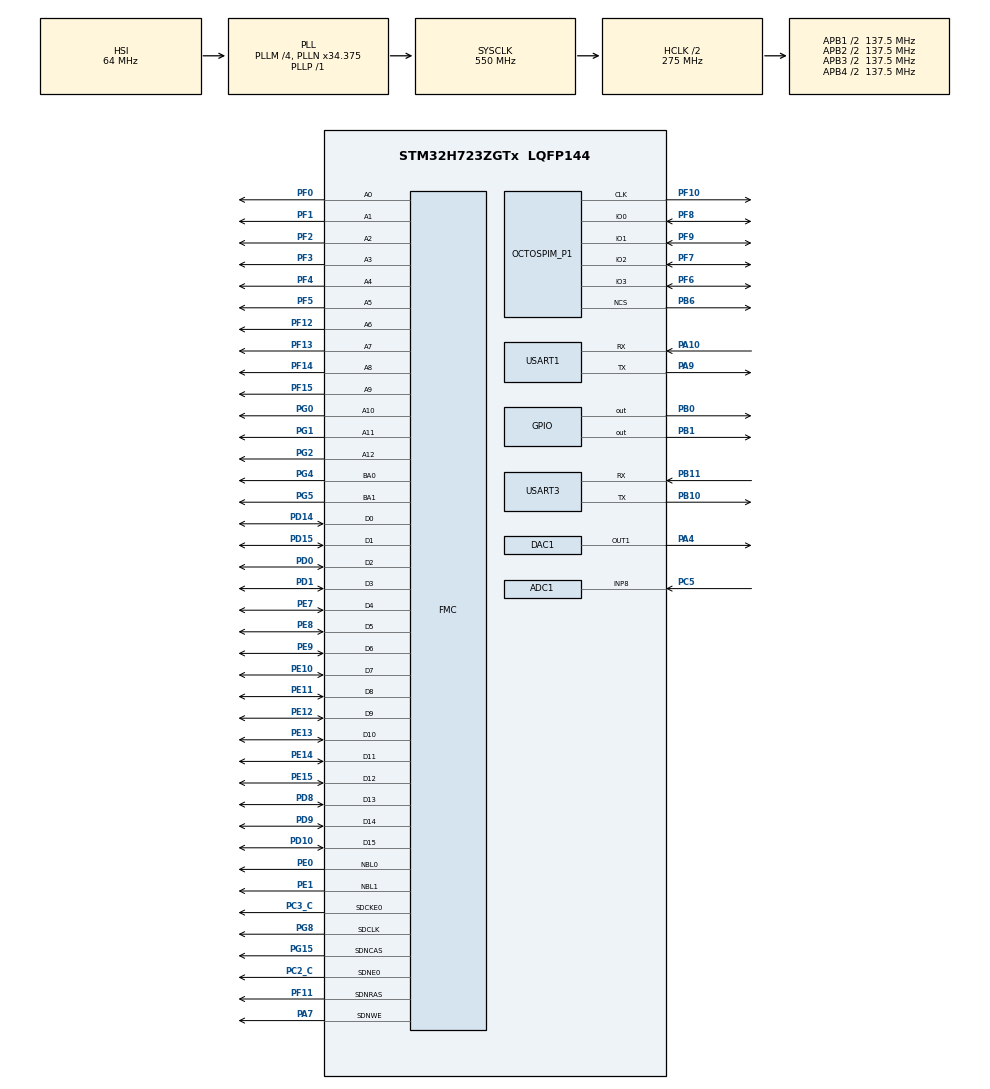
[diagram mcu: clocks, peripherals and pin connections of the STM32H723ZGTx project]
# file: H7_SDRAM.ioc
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ADC1.Channel-3\#ChannelRegularConversion=ADC_CHANNEL_8
ADC1.ClockPrescaler=ADC_CLOCK_ASYNC_DIV4
ADC1.ConversionDataManagement=ADC_CONVERSIONDATA_DMA_CIRCULAR
ADC1.ExternalTrigConv=ADC_EXTERNALTRIG_T4_TRGO
ADC1.NbrOfConversionFlag=1
ADC1.OffsetNumber-3\#ChannelRegularConversion=ADC_OFFSET_NONE
ADC1.OffsetSignedSaturation-3\#ChannelRegularConversion=DISABLE
ADC1.Rank-3\#ChannelRegularConversion=1
ADC1.Resolution=ADC_RESOLUTION_12B
ADC1.SamplingTime-3\#ChannelRegularConversion=ADC_SAMPLETIME_8CYCLES_5
ADC1.master=1
CORTEX_M7.AccessPermission_S-Cortex_Memory_Protection_Unit_Region1_Settings_S=MPU_REGION_FULL_ACCESS
CORTEX_M7.AccessPermission_S-Cortex_Memory_Protection_Unit_Region2_Settings_S=MPU_REGION_FULL_ACCESS
CORTEX_M7.AccessPermission_S-Cortex_Memory_Protection_Unit_Region3_Settings_S=MPU_REGION_FULL_ACCESS
CORTEX_M7.AccessPermission_S-Cortex_Memory_Protection_Unit_Region5_Settings_S=MPU_REGION_FULL_ACCESS
CORTEX_M7.AccessPermission_Spec=MPU_REGION_FULL_ACCESS
CORTEX_M7.BaseAddress_S-Cortex_Memory_Protection_Unit_Region1_Settings_S=0x60000000
CORTEX_M7.BaseAddress_S-Cortex_Memory_Protection_Unit_Region2_Settings_S=0x30000000
CORTEX_M7.BaseAddress_S-Cortex_Memory_Protection_Unit_Region3_Settings_S=0x38000000
CORTEX_M7.BaseAddress_S-Cortex_Memory_Protection_Unit_Region5_Settings_S=0xC0000000
CORTEX_M7.BaseAddress_Spec=0x24000000
CORTEX_M7.CPU_DCache=Enabled
CORTEX_M7.CPU_ICache=Enabled
CORTEX_M7.DisableExec_S-Cortex_Memory_Protection_Unit_Region1_Settings_S=MPU_INSTRUCTION_ACCESS_ENABLE
CORTEX_M7.DisableExec_S-Cortex_Memory_Protection_Unit_Region2_Settings_S=MPU_INSTRUCTION_ACCESS_ENABLE
CORTEX_M7.DisableExec_S-Cortex_Memory_Protection_Unit_Region3_Settings_S=MPU_INSTRUCTION_ACCESS_ENABLE
CORTEX_M7.DisableExec_Spec=MPU_INSTRUCTION_ACCESS_ENABLE
CORTEX_M7.Enable_S-Cortex_Memory_Protection_Unit_Region1_Settings_S=MPU_REGION_ENABLE
CORTEX_M7.Enable_S-Cortex_Memory_Protection_Unit_Region2_Settings_S=MPU_REGION_ENABLE
CORTEX_M7.Enable_S-Cortex_Memory_Protection_Unit_Region3_Settings_S=MPU_REGION_ENABLE
CORTEX_M7.Enable_S-Cortex_Memory_Protection_Unit_Region4_Settings_S=__NULL
CORTEX_M7.Enable_S-Cortex_Memory_Protection_Unit_Region5_Settings_S=MPU_REGION_ENABLE
CORTEX_M7.IsBufferable_S-Cortex_Memory_Protection_Unit_Region1_Settings_S=MPU_ACCESS_BUFFERABLE
CORTEX_M7.IsBufferable_S-Cortex_Memory_Protection_Unit_Region2_Settings_S=MPU_ACCESS_BUFFERABLE
CORTEX_M7.IsBufferable_Spec=MPU_ACCESS_BUFFERABLE
CORTEX_M7.IsCacheable_S-Cortex_Memory_Protection_Unit_Region1_Settings_S=MPU_ACCESS_NOT_CACHEABLE
CORTEX_M7.IsCacheable_S-Cortex_Memory_Protection_Unit_Region2_Settings_S=MPU_ACCESS_CACHEABLE
CORTEX_M7.IsCacheable_S-Cortex_Memory_Protection_Unit_Region3_Settings_S=MPU_ACCESS_CACHEABLE
CORTEX_M7.IsCacheable_S-Cortex_Memory_Protection_Unit_Region5_Settings_S=MPU_ACCESS_CACHEABLE
CORTEX_M7.IsCacheable_Spec=MPU_ACCESS_CACHEABLE
CORTEX_M7.IsShareable_Spec=MPU_ACCESS_NOT_SHAREABLE
CORTEX_M7.Size_S-Cortex_Memory_Protection_Unit_Region1_Settings_S=MPU_REGION_SIZE_64KB
CORTEX_M7.Size_S-Cortex_Memory_Protection_Unit_Region2_Settings_S=MPU_REGION_SIZE_64KB
CORTEX_M7.Size_S-Cortex_Memory_Protection_Unit_Region3_Settings_S=MPU_REGION_SIZE_64KB
CORTEX_M7.Size_S-Cortex_Memory_Protection_Unit_Region5_Settings_S=MPU_REGION_SIZE_32MB
CORTEX_M7.Size_Spec=MPU_REGION_SIZE_512KB
CORTEX_M7.SubRegionDisable_S-Cortex_Memory_Protection_Unit_Region1_Settings_S=0x00
CORTEX_M7.SubRegionDisable_Spec=0xE0
CORTEX_M7.TypeExtField_S-Cortex_Memory_Protection_Unit_Region1_Settings_S=MPU_TEX_LEVEL1
CORTEX_M7.TypeExtField_S-Cortex_Memory_Protection_Unit_Region5_Settings_S=MPU_TEX_LEVEL1
CORTEX_M7.TypeExtField_Spec=MPU_TEX_LEVEL1
CORTEX_M7.default_mode_Activation=1
DAC1.DAC_Channel-DAC_OUT1=DAC_CHANNEL_1
DAC1.DAC_Trigger-DAC_OUT1=DAC_TRIGGER_T4_TRGO
Dma.ADC1.3.Direction=DMA_PERIPH_TO_MEMORY
Dma.ADC1.3.EventEnable=DISABLE
Dma.ADC1.3.FIFOMode=DMA_FIFOMODE_DISABLE
Dma.ADC1.3.Instance=DMA1_Stream0
Dma.ADC1.3.MemDataAlignment=DMA_MDATAALIGN_HALFWORD
Dma.ADC1.3.MemInc=DMA_MINC_ENABLE
Dma.ADC1.3.Mode=DMA_CIRCULAR
Dma.ADC1.3.PeriphDataAlignment=DMA_PDATAALIGN_HALFWORD
Dma.ADC1.3.PeriphInc=DMA_PINC_DISABLE
Dma.ADC1.3.Polarity=HAL_DMAMUX_REQ_GEN_RISING
Dma.ADC1.3.Priority=DMA_PRIORITY_HIGH
Dma.ADC1.3.RequestNumber=1
Dma.ADC1.3.SignalID=NONE
Dma.ADC1.3.SyncEnable=DISABLE
Dma.ADC1.3.SyncPolarity=HAL_DMAMUX_SYNC_NO_EVENT
Dma.ADC1.3.SyncRequestNumber=1
Dma.ADC1.3.SyncSignalID=NONE
Dma.DAC1_CH1.2.Direction=DMA_MEMORY_TO_PERIPH
Dma.DAC1_CH1.2.EventEnable=DISABLE
Dma.DAC1_CH1.2.FIFOMode=DMA_FIFOMODE_DISABLE
Dma.DAC1_CH1.2.Instance=DMA1_Stream3
Dma.DAC1_CH1.2.MemDataAlignment=DMA_MDATAALIGN_HALFWORD
Dma.DAC1_CH1.2.MemInc=DMA_MINC_ENABLE
Dma.DAC1_CH1.2.Mode=DMA_CIRCULAR
Dma.DAC1_CH1.2.PeriphDataAlignment=DMA_PDATAALIGN_HALFWORD
Dma.DAC1_CH1.2.PeriphInc=DMA_PINC_DISABLE
Dma.DAC1_CH1.2.Polarity=HAL_DMAMUX_REQ_GEN_RISING
Dma.DAC1_CH1.2.Priority=DMA_PRIORITY_HIGH
Dma.DAC1_CH1.2.RequestNumber=1
Dma.DAC1_CH1.2.SignalID=NONE
Dma.DAC1_CH1.2.SyncEnable=DISABLE
Dma.DAC1_CH1.2.SyncPolarity=HAL_DMAMUX_SYNC_NO_EVENT
Dma.DAC1_CH1.2.SyncRequestNumber=1
Dma.DAC1_CH1.2.SyncSignalID=NONE
Dma.Request0=USART1_RX
Dma.Request1=USART3_RX
Dma.Request2=DAC1_CH1
Dma.Request3=ADC1
Dma.USART1_RX.0.Direction=DMA_PERIPH_TO_MEMORY
Dma.USART1_RX.0.EventEnable=DISABLE
Dma.USART1_RX.0.FIFOMode=DMA_FIFOMODE_DISABLE
Dma.USART1_RX.0.Instance=DMA1_Stream1
Dma.USART1_RX.0.MemDataAlignment=DMA_MDATAALIGN_BYTE
Dma.USART1_RX.0.MemInc=DMA_MINC_ENABLE
Dma.USART1_RX.0.Mode=DMA_NORMAL
Dma.USART1_RX.0.PeriphDataAlignment=DMA_PDATAALIGN_BYTE
Dma.USART1_RX.0.PeriphInc=DMA_PINC_DISABLE
Dma.USART1_RX.0.Polarity=HAL_DMAMUX_REQ_GEN_RISING
Dma.USART1_RX.0.Priority=DMA_PRIORITY_HIGH
Dma.USART1_RX.0.RequestNumber=1
Dma.USART1_RX.0.SignalID=NONE
Dma.USART1_RX.0.SyncEnable=DISABLE
Dma.USART1_RX.0.SyncPolarity=HAL_DMAMUX_SYNC_NO_EVENT
Dma.USART1_RX.0.SyncRequestNumber=1
Dma.USART1_RX.0.SyncSignalID=NONE
Dma.USART3_RX.1.Direction=DMA_PERIPH_TO_MEMORY
Dma.USART3_RX.1.EventEnable=DISABLE
Dma.USART3_RX.1.FIFOMode=DMA_FIFOMODE_DISABLE
Dma.USART3_RX.1.Instance=DMA1_Stream2
Dma.USART3_RX.1.MemDataAlignment=DMA_MDATAALIGN_BYTE
Dma.USART3_RX.1.MemInc=DMA_MINC_ENABLE
Dma.USART3_RX.1.Mode=DMA_NORMAL
Dma.USART3_RX.1.PeriphDataAlignment=DMA_PDATAALIGN_BYTE
Dma.USART3_RX.1.PeriphInc=DMA_PINC_DISABLE
Dma.USART3_RX.1.Polarity=HAL_DMAMUX_REQ_GEN_RISING
Dma.USART3_RX.1.Priority=DMA_PRIORITY_MEDIUM
Dma.USART3_RX.1.RequestNumber=1
Dma.USART3_RX.1.SignalID=NONE
Dma.USART3_RX.1.SyncEnable=DISABLE
Dma.USART3_RX.1.SyncPolarity=HAL_DMAMUX_SYNC_NO_EVENT
Dma.USART3_RX.1.SyncRequestNumber=1
Dma.USART3_RX.1.SyncSignalID=NONE
FMC.CASLatency1=FMC_SDRAM_CAS_LATENCY_3
FMC.ColumnBitsNumber1=FMC_SDRAM_COLUMN_BITS_NUM_9
FMC.ExitSelfRefreshDelay1=10
FMC.LoadToActiveDelay1=2
FMC.RCDDelay1=2
FMC.RPDelay1=3
FMC.RPDelay2=3
FMC.ReadBurst1=FMC_SDRAM_RBURST_ENABLE
FMC.ReadPipeDelay1=FMC_SDRAM_RPIPE_DELAY_1
FMC.ReadPipeDelay2=FMC_SDRAM_RPIPE_DELAY_1
FMC.RowCycleDelay1=9
FMC.RowCycleDelay2=9
FMC.SDClockPeriod1=FMC_SDRAM_CLOCK_PERIOD_2
FMC.SelfRefreshTime1=6
FMC.WriteRecoveryTime1=4
Mcu.Family=STM32H7
Mcu.Name=STM32H723ZGTx
Mcu.Package=LQFP144
NVIC.ADC_IRQn=true\:0\:0\:false\:false\:true\:true\:true\:true
NVIC.DMA1_Stream0_IRQn=true\:0\:0\:false\:false\:true\:false\:true\:true
NVIC.DMA1_Stream1_IRQn=true\:1\:0\:true\:false\:true\:false\:true\:true
NVIC.DMA1_Stream2_IRQn=true\:0\:0\:false\:false\:true\:false\:true\:true
NVIC.DMA1_Stream3_IRQn=true\:0\:0\:false\:false\:true\:false\:true\:true
NVIC.PriorityGroup=NVIC_PRIORITYGROUP_4
NVIC.TIM6_DAC_IRQn=true\:0\:0\:false\:false\:true\:true\:true\:true
NVIC.USART1_IRQn=true\:0\:0\:false\:false\:true\:true\:true\:true
NVIC.USART3_IRQn=true\:0\:0\:false\:false\:true\:true\:true\:true
OCTOSPI1.ChipSelectHighTime=4
OCTOSPI1.ClockPrescaler=3
OCTOSPI1.DeviceSize=23
OCTOSPI1.FifoThreshold=4
OCTOSPI1.SampleShifting=HAL_OSPI_SAMPLE_SHIFTING_HALFCYCLE
PA10.Mode=Asynchronous
PA10.Signal=USART1_RX
PA4.Signal=COMP_DAC11_group
PA7.Signal=FMC_SDNWE
PA9.Mode=Asynchronous
PA9.Signal=USART1_TX
PB0.GPIO_Speed=GPIO_SPEED_FREQ_VERY_HIGH
PB0.PinState=GPIO_PIN_SET
PB0.Signal=GPIO_Output
PB1.GPIO_Speed=GPIO_SPEED_FREQ_VERY_HIGH
PB1.PinState=GPIO_PIN_SET
PB1.Signal=GPIO_Output
PB10.Mode=Asynchronous
PB10.Signal=USART3_TX
PB11.Mode=Asynchronous
PB11.Signal=USART3_RX
PB6.Mode=OCTOSPI1_Port1_NCS
PB6.Signal=OCTOSPIM_P1_NCS
PC14-OSC32_IN.Mode=LSE-External-Oscillator
PC14-OSC32_IN.Signal=RCC_OSC32_IN
PC15-OSC32_OUT.Mode=LSE-External-Oscillator
PC15-OSC32_OUT.Signal=RCC_OSC32_OUT
PC2_C.Mode=SdramChipSelect1_1
PC2_C.Signal=FMC_SDNE0
PC3_C.Mode=SdramChipSelect1_1
PC3_C.Signal=FMC_SDCKE0
PC5.Signal=ADCx_INP8
PD0.Signal=FMC_D2_DA2
PD1.Signal=FMC_D3_DA3
PD10.Signal=FMC_D15_DA15
PD14.Signal=FMC_D0_DA0
PD15.Signal=FMC_D1_DA1
PD8.Signal=FMC_D13_DA13
PD9.Signal=FMC_D14_DA14
PE0.Signal=FMC_NBL0
PE1.Signal=FMC_NBL1
PE10.Signal=FMC_D7_DA7
PE11.Signal=FMC_D8_DA8
PE12.Signal=FMC_D9_DA9
PE13.Signal=FMC_D10_DA10
PE14.Signal=FMC_D11_DA11
PE15.Signal=FMC_D12_DA12
PE7.Signal=FMC_D4_DA4
PE8.Signal=FMC_D5_DA5
PE9.Signal=FMC_D6_DA6
PF0.Signal=FMC_A0
PF1.Signal=FMC_A1
PF10.Mode=O1_P1_CLK
PF10.Signal=OCTOSPIM_P1_CLK
PF11.Signal=FMC_SDNRAS
PF12.Signal=FMC_A6
PF13.Signal=FMC_A7
PF14.Signal=FMC_A8
PF15.Signal=FMC_A9
PF2.Signal=FMC_A2
PF3.Signal=FMC_A3
PF4.Signal=FMC_A4
PF5.Signal=FMC_A5
PF6.Mode=OCTOSPI1_IOL_Port1L
PF6.Signal=OCTOSPIM_P1_IO3
PF7.Mode=OCTOSPI1_IOL_Port1L
PF7.Signal=OCTOSPIM_P1_IO2
PF8.Mode=OCTOSPI1_IOL_Port1L
PF8.Signal=OCTOSPIM_P1_IO0
PF9.Mode=OCTOSPI1_IOL_Port1L
PF9.Signal=OCTOSPIM_P1_IO1
PG0.Signal=FMC_A10
PG1.Signal=FMC_A11
PG15.Signal=FMC_SDNCAS
PG2.Signal=FMC_A12
PG4.Signal=FMC_A14_BA0
PG5.Signal=FMC_A15_BA1
PG8.Signal=FMC_SDCLK
PH0-OSC_IN.Mode=HSE-External-Oscillator
PH0-OSC_IN.Signal=RCC_OSC_IN
PH1-OSC_OUT.Mode=HSE-External-Oscillator
PH1-OSC_OUT.Signal=RCC_OSC_OUT
ProjectManager.HeapSize=0x4000
ProjectManager.StackSize=0x4000
ProjectManager.TargetToolchain=MDK-ARM V5.32
RCC.ADCCLockSelection=RCC_ADCCLKSOURCE_CLKP
RCC.ADCFreq_Value=64000000
RCC.APB1Freq_Value=137500000
RCC.APB2Freq_Value=137500000
RCC.APB3Freq_Value=137500000
RCC.APB4Freq_Value=137500000
RCC.CortexFreq_Value=550000000
RCC.D1PPRE=RCC_APB3_DIV2
RCC.D2PPRE1=RCC_APB1_DIV2
RCC.D2PPRE2=RCC_APB2_DIV2
RCC.D3PPRE=RCC_APB4_DIV2
RCC.DIVM1=4
RCC.DIVN1=34
RCC.DIVP1=1
RCC.HCLKFreq_Value=275000000
RCC.HPRE=RCC_HCLK_DIV2
RCC.PLL2FRACN=0
RCC.PLL3FRACN=0
RCC.PLLFRACN=3072
RCC.SYSCLKFreq_VALUE=550000000
RCC.SYSCLKSource=RCC_SYSCLKSOURCE_PLLCLK
RCC.USBFreq_Value=275000000
SH.ADCx_INP8.0=ADC1_INP8,IN8-Single-Ended
SH.COMP_DAC11_group.0=DAC1_OUT1,DAC_OUT1
SH.FMC_A0.0=FMC_A0,13b-sda1
SH.FMC_A1.0=FMC_A1,13b-sda1
SH.FMC_A10.0=FMC_A10,13b-sda1
SH.FMC_A11.0=FMC_A11,13b-sda1
SH.FMC_A12.0=FMC_A12,13b-sda1
SH.FMC_A14_BA0.0=FMC_BA0,FourSdramBanks1
SH.FMC_A15_BA1.0=FMC_BA1,FourSdramBanks1
SH.FMC_A2.0=FMC_A2,13b-sda1
SH.FMC_A3.0=FMC_A3,13b-sda1
SH.FMC_A4.0=FMC_A4,13b-sda1
SH.FMC_A5.0=FMC_A5,13b-sda1
SH.FMC_A6.0=FMC_A6,13b-sda1
SH.FMC_A7.0=FMC_A7,13b-sda1
SH.FMC_A8.0=FMC_A8,13b-sda1
SH.FMC_A9.0=FMC_A9,13b-sda1
SH.FMC_D0_DA0.0=FMC_D0,sd-16b-d1
SH.FMC_D10_DA10.0=FMC_D10,sd-16b-d1
SH.FMC_D11_DA11.0=FMC_D11,sd-16b-d1
SH.FMC_D12_DA12.0=FMC_D12,sd-16b-d1
SH.FMC_D13_DA13.0=FMC_D13,sd-16b-d1
SH.FMC_D14_DA14.0=FMC_D14,sd-16b-d1
SH.FMC_D15_DA15.0=FMC_D15,sd-16b-d1
SH.FMC_D1_DA1.0=FMC_D1,sd-16b-d1
SH.FMC_D2_DA2.0=FMC_D2,sd-16b-d1
SH.FMC_D3_DA3.0=FMC_D3,sd-16b-d1
SH.FMC_D4_DA4.0=FMC_D4,sd-16b-d1
SH.FMC_D5_DA5.0=FMC_D5,sd-16b-d1
SH.FMC_D6_DA6.0=FMC_D6,sd-16b-d1
SH.FMC_D7_DA7.0=FMC_D7,sd-16b-d1
SH.FMC_D8_DA8.0=FMC_D8,sd-16b-d1
SH.FMC_D9_DA9.0=FMC_D9,sd-16b-d1
SH.FMC_NBL0.0=FMC_NBL0,Sd2ByteEnable1
SH.FMC_NBL1.0=FMC_NBL1,Sd2ByteEnable1
SH.FMC_SDCLK.0=FMC_SDCLK,13b-sda1
SH.FMC_SDNCAS.0=FMC_SDNCAS,13b-sda1
SH.FMC_SDNRAS.0=FMC_SDNRAS,13b-sda1
SH.FMC_SDNWE.0=FMC_SDNWE,13b-sda1
TIM3.AutoReloadPreload=TIM_AUTORELOAD_PRELOAD_ENABLE
TIM3.Period=110-1
TIM3.Prescaler=25-1
TIM3.TIM_MasterOutputTrigger=TIM_TRGO_UPDATE
TIM4.AutoReloadPreload=TIM_AUTORELOAD_PRELOAD_ENABLE
TIM4.Period=2-1
TIM4.Prescaler=13-1
TIM4.TIM_MasterOutputTrigger=TIM_TRGO_UPDATE
USART1.VirtualMode-Asynchronous=VM_ASYNC
USART3.VirtualMode-Asynchronous=VM_ASYNC
VP_MEMORYMAP_VS_MEMORYMAP.Mode=CurAppReg
VP_OCTOSPI1_VS_quad.Mode=quad_mode
VP_TIM3_VS_ClockSourceINT.Mode=Internal
VP_TIM4_VS_ClockSourceINT.Mode=Internal
board=custom

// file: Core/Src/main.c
/* USER CODE BEGIN Header */
/**
  ******************************************************************************
  * @file           : main.c
  * @brief          : Main program body
  ******************************************************************************
  * @attention
  *
  * Copyright (c) 2026 STMicroelectronics.
  * All rights reserved.
  *
  * This software is licensed under terms that can be found in the LICENSE file
  * in the root directory of this software component.
  * If no LICENSE file comes with this software, it is provided AS-IS.
  *
  ******************************************************************************
  */
/* USER CODE END Header */
#include "main.h"
#include "adc.h"
#include "dac.h"
#include "dma.h"
#include "octospi.h"
#include "tim.h"
#include "usart.h"
#include "gpio.h"
#include "fmc.h"

/* USER CODE BEGIN Includes */
#include "bspsysteam.h"

/* USER CODE END Includes */

void SystemClock_Config(void);
void PeriphCommonClock_Config(void);
static void MPU_Config(void);

/* USER CODE BEGIN 0 */

#define AUDIO_BLOCK_SIZE   ADC_DAC_DMA_HALF_LEN

__attribute__((section(".RAM_D1"), aligned(32))) uint16_t adc_dma_buf[ADC_DAC_DMA_LEN];
__attribute__((section(".RAM_D1"), aligned(32))) uint16_t dac_dma_buf[ADC_DAC_DMA_LEN];

static void DCache_Invalidate_By_Addr(void *addr, uint32_t size);
static void DCache_Clean_By_Addr(void *addr, uint32_t size);

#define CACHE_LINE_SIZE     32U
__attribute__((section(".ITCM_CODE")))
static void DCache_Invalidate_By_Addr(void *addr, uint32_t size)
{
    uint32_t start_addr;
    uint32_t end_addr;

    start_addr = (uint32_t)addr;
    end_addr = start_addr + size;

    start_addr &= ~(CACHE_LINE_SIZE - 1U);
    end_addr = (end_addr + CACHE_LINE_SIZE - 1U) & ~(CACHE_LINE_SIZE - 1U);

    SCB_InvalidateDCache_by_Addr((uint32_t *)start_addr,
                                 end_addr - start_addr);
}
__attribute__((section(".ITCM_CODE")))
static void DCache_Clean_By_Addr(void *addr, uint32_t size)
{
    uint32_t start_addr;
    uint32_t end_addr;

    start_addr = (uint32_t)addr;
    end_addr = start_addr + size;

    start_addr &= ~(CACHE_LINE_SIZE - 1U);
    end_addr = (end_addr + CACHE_LINE_SIZE - 1U) & ~(CACHE_LINE_SIZE - 1U);

    SCB_CleanDCache_by_Addr((uint32_t *)start_addr,
                            end_addr - start_addr);
}

void AudioIIR_UserInit(void)
{
    AudioIIR_LowPassParam param;

    param.fs = 500000.0;
    param.fc = 100000.0;

    if (AudioIIR_InitLowPass(&param) == 0)
    {
        Error_Handler();
    }
}

__attribute__((section(".ITCM_CODE")))
void AudioIIR_ProcessDMABlock(uint32_t offset)
{
    uint32_t block_bytes;

    block_bytes = AUDIO_IIR_BLOCK_SIZE * sizeof(uint16_t);

    DCache_Invalidate_By_Addr(&adc_dma_buf[offset], block_bytes);

    AudioIIR_ProcessBlock_U16(&adc_dma_buf[offset],
                              &dac_dma_buf[offset],
                              AUDIO_IIR_BLOCK_SIZE);

    DCache_Clean_By_Addr(&dac_dma_buf[offset], block_bytes);
}

volatile uint8_t adc_half_ready = 0;
volatile uint8_t adc_full_ready = 0;
volatile uint8_t dac_half_free  = 0;
volatile uint8_t dac_full_free  = 0;

__attribute__((section(".ITCM_CODE")))
void adc_proc(void)
{
    uint8_t do_half = 0;
    uint8_t do_full = 0;

    __disable_irq();

    if ((adc_half_ready != 0U) && (dac_half_free != 0U))
    {
        adc_half_ready = 0U;
        dac_half_free = 0U;
        do_half = 1U;
    }

    if ((adc_full_ready != 0U) && (dac_full_free != 0U))
    {
        adc_full_ready = 0U;
        dac_full_free = 0U;
        do_full = 1U;
    }

    __enable_irq();

    if (do_half != 0U)
    {
		AudioIIR_ProcessDMABlock(0);
    }

    if (do_full != 0U)
    {
		AudioIIR_ProcessDMABlock(AUDIO_BLOCK_SIZE);
    }
}

void HAL_ADC_ConvHalfCpltCallback(ADC_HandleTypeDef *hadc)
{
    if (hadc->Instance == ADC1)
    {
        adc_half_ready = 1U;
    }
}

void HAL_ADC_ConvCpltCallback(ADC_HandleTypeDef *hadc)
{
    if (hadc->Instance == ADC1)
    {

        adc_full_ready = 1U;
    }
}

void HAL_DAC_ConvHalfCpltCallbackCh1(DAC_HandleTypeDef *hdac)
{
    if (hdac->Instance == DAC1)
    {
        dac_half_free = 1;
    }
}

void HAL_DAC_ConvCpltCallbackCh1(DAC_HandleTypeDef *hdac)
{
    if (hdac->Instance == DAC1)
    {
      dac_full_free = 1;
    }
}

void Audio_DMA_Start(void)
{
    uint32_t i;

    for (i = 0; i < ADC_DAC_DMA_LEN; i++)
    {
        dac_dma_buf[i] = 2048;
    }
}

/* USER CODE END 0 */

int main(void)
{

  /* MPU Configuration--------------------------------------------------------*/
  MPU_Config();

  /* Enable the CPU Cache */

  /* Enable I-Cache---------------------------------------------------------*/
  SCB_EnableICache();

  /* Enable D-Cache---------------------------------------------------------*/
  SCB_EnableDCache();

  /* MCU Configuration--------------------------------------------------------*/

  /* Reset of all peripherals, Initializes the Flash interface and the Systick. */
  HAL_Init();

  /* Configure the system clock */
  SystemClock_Config();

  /* Configure the peripherals common clocks */
  PeriphCommonClock_Config();

  /* Initialize all configured peripherals */
  MX_GPIO_Init();
  MX_DMA_Init();
  MX_FMC_Init();
  MX_OCTOSPI1_Init();
  MX_USART1_UART_Init();
  MX_USART3_UART_Init();
  MX_TIM3_Init();
  MX_DAC1_Init();
  MX_TIM4_Init();
  MX_ADC1_Init();
  /* USER CODE BEGIN 2 */
	SRAM_Clock_Enable();    // 如果这个函数确实还需要，放在时钟后

  /* USER CODE END 2 */

  /* Infinite loop */
  /* USER CODE BEGIN WHILE */
	scheduler_Init();
	Audio_DMA_Start();
	AudioIIR_UserInit();
	HAL_GPIO_WritePin(GPIOB,GPIO_PIN_0,GPIO_PIN_RESET);
	DCache_Clean_By_Addr(dac_dma_buf,ADC_DAC_DMA_LEN * sizeof(uint16_t));
	HAL_ADC_Start_DMA(&hadc1, (uint32_t *)&adc_dma_buf[0], ADC_DAC_DMA_LEN);
	HAL_DAC_Start_DMA(&hdac1,DAC_CHANNEL_1,(uint32_t *)&dac_dma_buf[0],ADC_DAC_DMA_LEN,DAC_ALIGN_12B_R);
	HAL_TIM_Base_Start(&htim3);
	HAL_TIM_Base_Start(&htim4);
  while (1)
  {
    /* USER CODE END WHILE */

    /* USER CODE BEGIN 3 */

	adc_proc();

  }
  /* USER CODE END 3 */
}

void SystemClock_Config(void)
{
  RCC_OscInitTypeDef RCC_OscInitStruct = {0};
  RCC_ClkInitTypeDef RCC_ClkInitStruct = {0};

  /** Supply configuration update enable
  */
  HAL_PWREx_ConfigSupply(PWR_LDO_SUPPLY);

  /** Configure the main internal regulator output voltage
  */
  __HAL_PWR_VOLTAGESCALING_CONFIG(PWR_REGULATOR_VOLTAGE_SCALE0);

  while(!__HAL_PWR_GET_FLAG(PWR_FLAG_VOSRDY)) {}

  /** Initializes the RCC Oscillators according to the specified parameters
  * in the RCC_OscInitTypeDef structure.
  */
  RCC_OscInitStruct.OscillatorType = RCC_OSCILLATORTYPE_HSI;
  RCC_OscInitStruct.HSIState = RCC_HSI_DIV1;
  RCC_OscInitStruct.HSICalibrationValue = 64;
  RCC_OscInitStruct.PLL.PLLState = RCC_PLL_ON;
  RCC_OscInitStruct.PLL.PLLSource = RCC_PLLSOURCE_HSI;
  RCC_OscInitStruct.PLL.PLLM = 4;
  RCC_OscInitStruct.PLL.PLLN = 34;
  RCC_OscInitStruct.PLL.PLLP = 1;
  RCC_OscInitStruct.PLL.PLLQ = 2;
  RCC_OscInitStruct.PLL.PLLR = 2;
  RCC_OscInitStruct.PLL.PLLRGE = RCC_PLL1VCIRANGE_3;
  RCC_OscInitStruct.PLL.PLLVCOSEL = RCC_PLL1VCOWIDE;
  RCC_OscInitStruct.PLL.PLLFRACN = 3072;
  if (HAL_RCC_OscConfig(&RCC_OscInitStruct) != HAL_OK)
  {
    Error_Handler();
  }

  /** Initializes the CPU, AHB and APB buses clocks
  */
  RCC_ClkInitStruct.ClockType = RCC_CLOCKTYPE_HCLK|RCC_CLOCKTYPE_SYSCLK
                              |RCC_CLOCKTYPE_PCLK1|RCC_CLOCKTYPE_PCLK2
                              |RCC_CLOCKTYPE_D3PCLK1|RCC_CLOCKTYPE_D1PCLK1;
  RCC_ClkInitStruct.SYSCLKSource = RCC_SYSCLKSOURCE_PLLCLK;
  RCC_ClkInitStruct.SYSCLKDivider = RCC_SYSCLK_DIV1;
  RCC_ClkInitStruct.AHBCLKDivider = RCC_HCLK_DIV2;
  RCC_ClkInitStruct.APB3CLKDivider = RCC_APB3_DIV2;
  RCC_ClkInitStruct.APB1CLKDivider = RCC_APB1_DIV2;
  RCC_ClkInitStruct.APB2CLKDivider = RCC_APB2_DIV2;
  RCC_ClkInitStruct.APB4CLKDivider = RCC_APB4_DIV2;

  if (HAL_RCC_ClockConfig(&RCC_ClkInitStruct, FLASH_LATENCY_3) != HAL_OK)
  {
    Error_Handler();
  }
}

void PeriphCommonClock_Config(void)
{
  RCC_PeriphCLKInitTypeDef PeriphClkInitStruct = {0};

  /** Initializes the peripherals clock
  */
  PeriphClkInitStruct.PeriphClockSelection = RCC_PERIPHCLK_CKPER;
  PeriphClkInitStruct.CkperClockSelection = RCC_CLKPSOURCE_HSI;
  if (HAL_RCCEx_PeriphCLKConfig(&PeriphClkInitStruct) != HAL_OK)
  {
    Error_Handler();
  }
}

 /* MPU Configuration */

void MPU_Config(void)
{
  MPU_Region_InitTypeDef MPU_InitStruct = {0};

  /* Disables the MPU */
  HAL_MPU_Disable();

  /** Initializes and configures the Region and the memory to be protected
  */
  MPU_InitStruct.Enable = MPU_REGION_ENABLE;
  MPU_InitStruct.Number = MPU_REGION_NUMBER0;
  MPU_InitStruct.BaseAddress = 0x24000000;
  MPU_InitStruct.Size = MPU_REGION_SIZE_512KB;
  MPU_InitStruct.SubRegionDisable = 0xE0;
  MPU_InitStruct.TypeExtField = MPU_TEX_LEVEL1;
  MPU_InitStruct.AccessPermission = MPU_REGION_FULL_ACCESS;
  MPU_InitStruct.DisableExec = MPU_INSTRUCTION_ACCESS_ENABLE;
  MPU_InitStruct.IsShareable = MPU_ACCESS_NOT_SHAREABLE;
  MPU_InitStruct.IsCacheable = MPU_ACCESS_CACHEABLE;
  MPU_InitStruct.IsBufferable = MPU_ACCESS_BUFFERABLE;

  HAL_MPU_ConfigRegion(&MPU_InitStruct);

  /** Initializes and configures the Region and the memory to be protected
  */
  MPU_InitStruct.Number = MPU_REGION_NUMBER1;
  MPU_InitStruct.BaseAddress = 0x60000000;
  MPU_InitStruct.Size = MPU_REGION_SIZE_64KB;
  MPU_InitStruct.SubRegionDisable = 0x00;
  MPU_InitStruct.IsCacheable = MPU_ACCESS_NOT_CACHEABLE;

  HAL_MPU_ConfigRegion(&MPU_InitStruct);

  /** Initializes and configures the Region and the memory to be protected
  */
  MPU_InitStruct.Number = MPU_REGION_NUMBER2;
  MPU_InitStruct.BaseAddress = 0x30000000;
  MPU_InitStruct.SubRegionDisable = 0x0;
  MPU_InitStruct.TypeExtField = MPU_TEX_LEVEL0;
  MPU_InitStruct.IsCacheable = MPU_ACCESS_CACHEABLE;

  HAL_MPU_ConfigRegion(&MPU_InitStruct);

  /** Initializes and configures the Region and the memory to be protected
  */
  MPU_InitStruct.Number = MPU_REGION_NUMBER3;
  MPU_InitStruct.BaseAddress = 0x38000000;
  MPU_InitStruct.IsBufferable = MPU_ACCESS_NOT_BUFFERABLE;

  HAL_MPU_ConfigRegion(&MPU_InitStruct);

  /** Initializes and configures the Region and the memory to be protected
  */
  MPU_InitStruct.Number = MPU_REGION_NUMBER5;
  MPU_InitStruct.BaseAddress = 0xC0000000;
  MPU_InitStruct.Size = MPU_REGION_SIZE_32MB;
  MPU_InitStruct.TypeExtField = MPU_TEX_LEVEL1;

  HAL_MPU_ConfigRegion(&MPU_InitStruct);
  /* Enables the MPU */
  HAL_MPU_Enable(MPU_PRIVILEGED_DEFAULT);

}

void Error_Handler(void)
{
  /* USER CODE BEGIN Error_Handler_Debug */
  /* User can add his own implementation to report the HAL error return state */
//  __disable_irq();
  while (1)
  {
		HAL_GPIO_TogglePin(GPIOB, GPIO_PIN_0);
    HAL_Delay(100);
  }
  /* USER CODE END Error_Handler_Debug */
}
